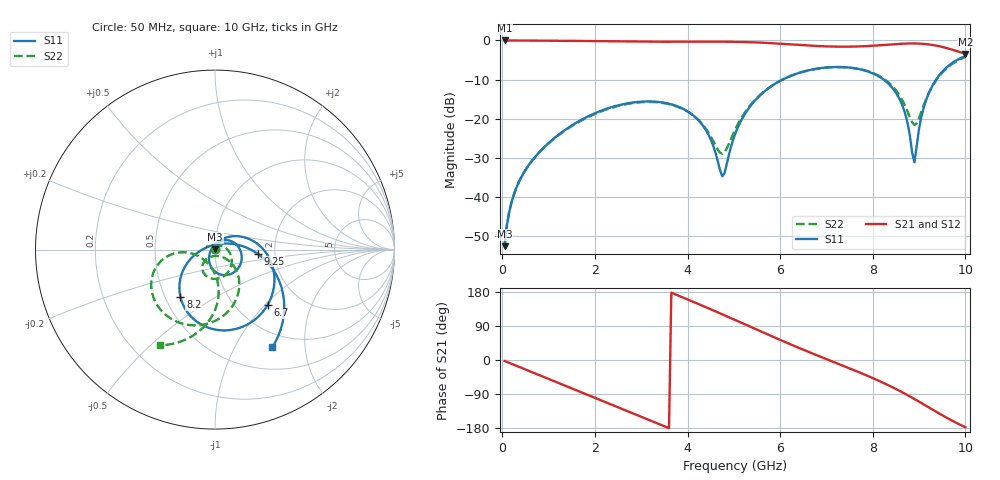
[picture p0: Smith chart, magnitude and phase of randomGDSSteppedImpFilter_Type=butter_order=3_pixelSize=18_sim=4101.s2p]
! freq	dB(S11)	phase(S11)	dB(S12)	phase(S12)
!  dB(S21)	phase(S21)	dB(S22)	phase(S22)
!S-par simulation data
#  GHz  S  DB  R 50
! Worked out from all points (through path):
!   200 points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, 50 MHz to 10 GHz, reference 50 ohm
!   highest |S21| = -0.01 dB at 50 MHz (marker M1); lowest = -3.4 dB at 10 GHz (marker M2)
!   group delay of S21, straight-line fit = 146 ps
!   lowest |S11| = -52.6 dB at 50 MHz (marker M3), VSWR 1.00, Z = 50.1 + j0.227 ohm
!   |S11| at or under -10 dB: start of sweep to 6.054 GHz; 8.232 GHz to 9.37 GHz (1.137 GHz wide, 12.9 % of centre)
!   |S22| runs from -52.5 to -4.2 dB; largest |S21 - S12| = 0
!   S11 on the Smith chart (normalised r, x): 50 MHz: 1.00, +0.00; 6.7 GHz: 1.37, -1.04; 8.2 GHz: 0.60, -0.35; 9.25 GHz: 1.62, -0.08; 10 GHz: 0.79, -1.43
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0.05  -52.63 76.1  -0.01 -2.5  -0.01 -2.5  -52.46 75.7
0.2  -41.38 81.1  -0.02 -10.1  -0.02 -10.1  -41.34 71.3
0.5  -33.15 75.7  -0.04 -25.0  -0.04 -25.0  -33.15 52.5
1.15  -24.72 54.7  -0.08 -57.4  -0.08 -57.4  -24.85 11.1
1.75  -20.04 28.8  -0.14 -87.4  -0.14 -87.4  -20.22 -22.4
2.5  -16.61 -7.9  -0.24 -124.8  -0.24 -124.8  -16.77 -60.2
3.4  -15.77 -55.1  -0.33 -169.7  -0.33 -169.7  -15.90 -101.4
4.3  -21.30 -109.1  -0.31 144.4  -0.31 144.4  -21.16 -132.2
4.55  -26.79 -134.0  -0.31 131.2  -0.31 131.2  -25.63 -125.5
4.75  -34.75 155.0  -0.32 120.6  -0.32 120.6  -29.00 -86.7
5.05  -23.26 56.5  -0.36 104.4  -0.36 104.4  -22.27 -40.4
5.7  -12.67 9.2  -0.62 69.1  -0.62 69.1  -12.61 -54.7
6.7  -7.42 -46.6  -1.36 17.1  -1.36 17.1  -7.45 -99.2
7.45  -6.90 -84.9  -1.60 -19.7  -1.60 -19.7  -6.90 -132.2
8.2  -9.72 -126.1  -1.19 -58.7  -1.19 -58.7  -9.51 -164.5
8.35  -11.19 -135.8  -1.06 -67.4  -1.06 -67.4  -10.83 -170.2
8.7  -18.73 -165.7  -0.81 -89.3  -0.81 -89.3  -16.79 -172.8
8.9  -31.18 92.3  -0.77 -102.9  -0.77 -102.9  -21.61 -133.6
9.05  -19.49 17.2  -0.84 -113.6  -0.84 -113.6  -18.22 -93.3
9.25  -12.45 -5.4  -1.09 -128.0  -1.09 -128.0  -12.53 -85.0
9.6  -6.85 -33.3  -1.96 -152.6  -1.96 -152.6  -7.10 -98.8
10  -3.99 -59.7  -3.44 -177.6  -3.44 -177.6  -4.23 -119.8
